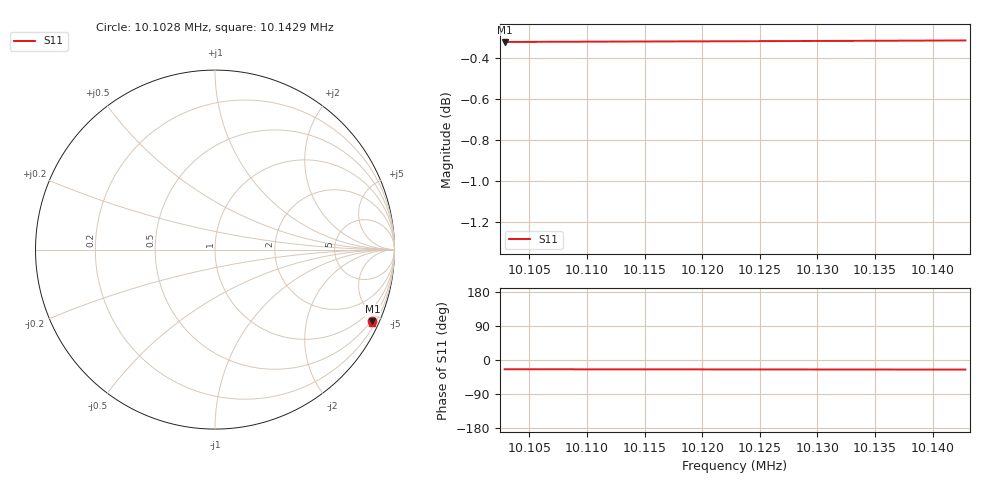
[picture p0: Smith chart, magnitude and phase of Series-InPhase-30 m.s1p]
# HZ S RI R 50
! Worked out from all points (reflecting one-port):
!   5 points, 10.1028 MHz to 10.1429 MHz, reference 50 ohm
!   lowest |S11| = -0.3 dB at 10.1028 MHz (marker M1), VSWR 53.65, Z = 20.6 - j229 ohm
!   phase of S11 starts at -24 deg and turns -1 deg over the sweep
1.010284e7  0.8769 -0.399
1.011284e7  0.8757 -0.4021
1.012285e7  0.8744 -0.4054
1.013285e7  0.8732 -0.4085
1.014286e7  0.8719 -0.4116
